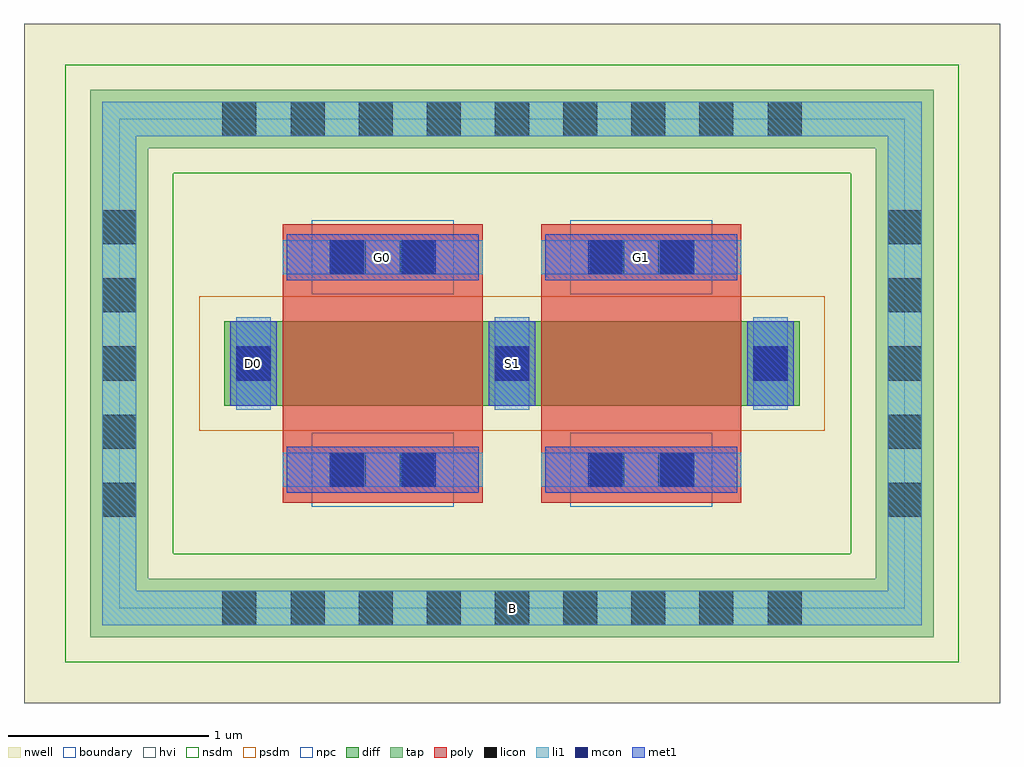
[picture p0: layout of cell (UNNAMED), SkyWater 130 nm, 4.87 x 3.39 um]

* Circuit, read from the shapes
.subckt (UNNAMED) B D0 G0 G1 S1
XM1 S1 G0 D0 B sky130_fd_pr__pfet_g5v0d10v5 w=0.42 l=1
XM2 n1 G1 S1 B sky130_fd_pr__pfet_g5v0d10v5 w=0.42 l=1
.ends

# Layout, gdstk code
import gdstk
lib = gdstk.Library(unit=1e-6, precision=1e-09)
def R(c, l, rs):  # rectangles x0, y0, x1, y1
    for r in rs: c.add(gdstk.rectangle(r[:2], r[2:], *l))
def A(c, l, x, y, w, h, nx, ny, dx, dy):  # array of equal rectangles
    R(c, l, [(x+i*dx, y+j*dy, x+i*dx+w, y+j*dy+h) for i in range(nx) for j in range(ny)])
nwell = (64, 20)
diff = (65, 20)
tap = (65, 44)
poly = (66, 20)
licon = (66, 44)
li1 = (67, 20)
mcon = (67, 44)
met1 = (68, 20)
hvi = (75, 20)
nsdm = (93, 44)
psdm = (94, 20)
npc = (95, 20)
boundary = (235, 4)

c__unnamed_ = lib.new_cell('(UNNAMED)')
R(c__unnamed_, nwell, [(-2.435,-1.695,2.435,1.695)])
R(c__unnamed_, diff, [(-1.435,-0.21,1.435,0.21)])
R(c__unnamed_, tap, [(-2.105,-1.365,2.105,-1.075), (-2.105,-1.075,-1.815,1.075), (1.815,-1.075,2.105,1.075), (-2.105,1.075,2.105,1.365)])
R(c__unnamed_, poly, [(-1.145,-0.695,-0.145,0.695), (0.145,-0.695,1.145,0.695)])
A(c__unnamed_, licon, -1.445, -1.305, 0.17, 0.17, 9, 2, 0.34, 2.44)
A(c__unnamed_, licon, -2.045, -0.765, 0.17, 0.17, 1, 5, 0, 0.34)
A(c__unnamed_, licon, 1.875, -0.765, 0.17, 0.17, 1, 5, 0, 0.34)
A(c__unnamed_, licon, -1.375, -0.085, 0.17, 0.17, 3, 1, 1.29, 0)
R(c__unnamed_, licon, [(-0.9,-0.615,-0.73,-0.445), (-0.56,-0.615,-0.39,-0.445), (0.39,-0.615,0.56,-0.445), (0.73,-0.615,0.9,-0.445), (-0.9,0.445,-0.73,0.615), (-0.56,0.445,-0.39,0.615), (0.39,0.445,0.56,0.615), (0.73,0.445,0.9,0.615)])
A(c__unnamed_, li1, -1.375, -0.23, 0.17, 0.46, 3, 1, 1.29, 0)
R(c__unnamed_, li1, [(-2.045,-1.305,2.045,-1.135), (-2.045,-1.135,-1.875,1.135), (1.875,-1.135,2.045,1.135), (-1.145,-0.615,-0.145,-0.445), (0.145,-0.615,1.145,-0.445), (-1.145,0.445,-0.145,0.615), (0.145,0.445,1.145,0.615), (-2.045,1.135,2.045,1.305)])
A(c__unnamed_, mcon, -1.375, -0.085, 0.17, 0.17, 3, 1, 1.29, 0)
R(c__unnamed_, mcon, [(-0.91,-0.615,-0.74,-0.445), (-0.55,-0.615,-0.38,-0.445), (0.38,-0.615,0.55,-0.445), (0.74,-0.615,0.91,-0.445), (-0.91,0.445,-0.74,0.615), (-0.55,0.445,-0.38,0.615), (0.38,0.445,0.55,0.615), (0.74,0.445,0.91,0.615)])
A(c__unnamed_, met1, -1.405, -0.21, 0.23, 0.42, 3, 1, 1.29, 0)
R(c__unnamed_, met1, [(-1.125,-0.645,-0.165,-0.415), (0.165,-0.645,1.125,-0.415), (-1.125,0.415,-0.165,0.645), (0.165,0.415,1.125,0.645)])
R(c__unnamed_, hvi, [(-2.435,-1.695,2.435,1.695)])
R(c__unnamed_, nsdm, [(-2.23,-1.49,2.23,-0.95), (-2.23,-0.95,-1.69,0.95), (1.69,-0.95,2.23,0.95), (-2.23,0.95,2.23,1.49)])
R(c__unnamed_, psdm, [(-1.56,-0.335,1.56,0.335)])
R(c__unnamed_, npc, [(-1,-0.715,-0.29,-0.345), (0.29,-0.715,1,-0.345), (-1,0.345,-0.29,0.715), (0.29,0.345,1,0.715)])
R(c__unnamed_, boundary, [(-1.96,-1.22,1.96,1.22)])
c__unnamed_.add(gdstk.Label('B', (0,-1.22), layer=67, texttype=5))
c__unnamed_.add(gdstk.Label('D0', (-1.29,0), layer=67, texttype=5))
c__unnamed_.add(gdstk.Label('G0', (-0.645,0.53), layer=67, texttype=5))
c__unnamed_.add(gdstk.Label('S1', (0,0), layer=67, texttype=5))
c__unnamed_.add(gdstk.Label('G1', (0.645,0.53), layer=67, texttype=5))

lib.write_gds('_UNNAMED_.gds')
